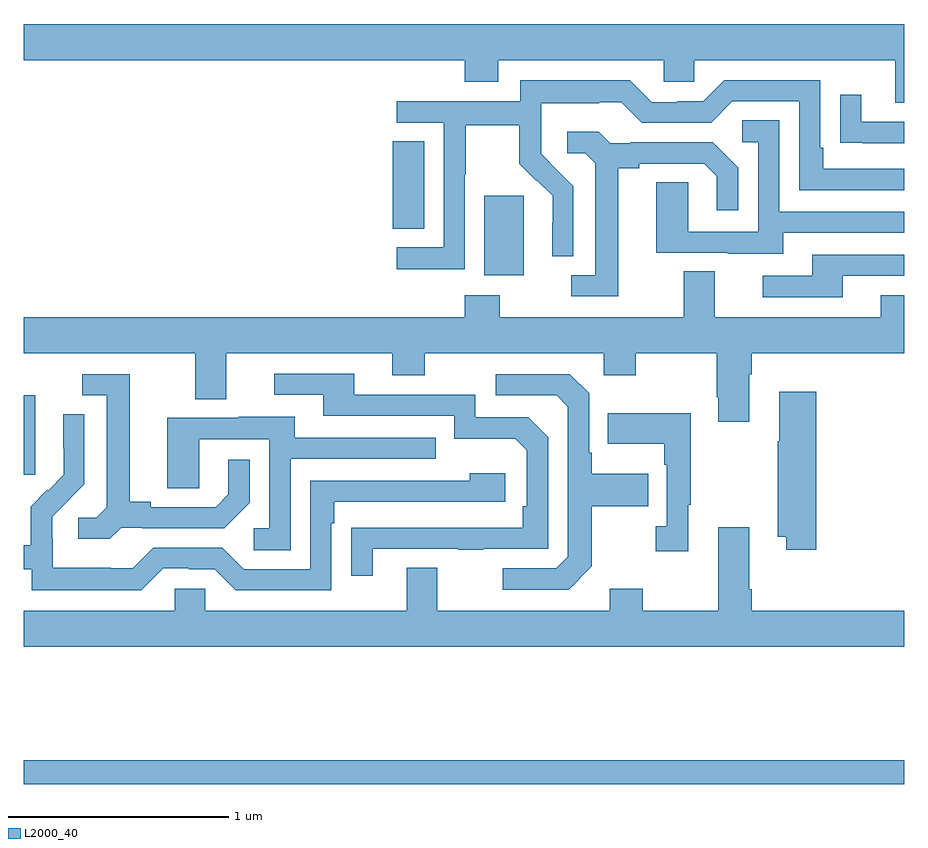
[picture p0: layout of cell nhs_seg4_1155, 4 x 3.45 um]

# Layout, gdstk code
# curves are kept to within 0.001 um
import gdstk
lib = gdstk.Library(unit=1e-6, precision=1e-09)
def R(c, l, rs):  # rectangles x0, y0, x1, y1
    for r in rs: c.add(gdstk.rectangle(r[:2], r[2:], *l))
def P(c, l, *ps):  # polygons
    for p in ps: c.add(gdstk.Polygon(p, *l))
L2000_40 = (2000, 40)

nhs_seg4_1155 = lib.new_cell('nhs_seg4_1155')
R(nhs_seg4_1155, L2000_40, [(171,758.9,175,759.008), (171,760.305,171.052,760.666), (173.093,761.21,173.272,761.571), (172.676,761.422,172.819,761.819)])
P(nhs_seg4_1155, L2000_40, [(175,762.352),(171,762.352),(171,762.188),(173.003,762.188),(173.003,762.089),(173.155,762.089),(173.155,762.188),(173.907,762.188),(173.907,762.09),(174.045,762.09),(174.045,762.188),(174.959,762.188),(174.959,761.994),(175,761.994)],
  [(173.004,761.668),(173.007,761.668),(173.007,761.892),(173.251,761.892),(173.251,761.717),(173.328,761.64),(173.331,761.643),(173.402,761.573),(173.402,761.45),(173.4,761.45),(173.4,761.296),(173.496,761.296),(173.496,761.614),(173.35,761.762),(173.35,761.859),(173.352,761.859),(173.352,761.993),(173.615,761.993),(173.615,761.997),(173.715,761.997),(173.808,761.904),(174.123,761.904),(174.219,762),(174.522,762),(174.522,761.598),(175,761.598),(175,761.694),(174.631,761.694),(174.631,761.791),(174.618,761.791),(174.618,762.096),(174.183,762.096),(174.087,762),(173.969,762),(173.969,761.997),(173.853,761.997),(173.753,762.097),(173.256,762.097),(173.256,762),(172.695,762),(172.695,761.904),(172.908,761.904),(172.908,761.337),(172.695,761.337),(172.695,761.239),(173.004,761.239)],
  [(175,761.907),(174.805,761.907),(174.805,762.031),(174.709,762.031),(174.709,761.812),(174.811,761.812),(174.811,761.811),(175,761.811)],
  [(174.451,761.403),(175,761.403),(175,761.499),(174.432,761.499),(174.432,761.915),(174.264,761.915),(174.264,761.814),(174.336,761.814),(174.336,761.409),(174.018,761.409),(174.018,761.633),(173.873,761.633),(173.873,761.313),(174.197,761.313),(174.197,761.309),(174.451,761.309)],
  [(173.701,761.696),(173.797,761.696),(173.797,761.718),(174.092,761.718),(174.149,761.661),(174.149,761.505),(174.246,761.505),(174.246,761.698),(174.13,761.814),(173.758,761.814),(173.758,761.811),(173.664,761.811),(173.612,761.863),(173.469,761.863),(173.469,761.766),(173.55,761.766),(173.597,761.719),(173.597,761.211),(173.487,761.211),(173.487,761.115),(173.701,761.115)],
  [(174.721,761.208),(175,761.208),(175,761.304),(174.581,761.304),(174.581,761.208),(174.357,761.208),(174.357,761.112),(174.721,761.112)],
  [(174.295,760.76),(174.308,760.76),(174.308,760.856),(175,760.856),(175,761.119),(174.893,761.119),(174.893,761.02),(174.139,761.02),(174.139,761.228),(173.999,761.228),(173.999,761.02),(173.163,761.02),(173.163,761.119),(173.003,761.119),(173.003,761.02),(171,761.02),(171,760.856),(171.779,760.856),(171.779,760.648),(171.919,760.648),(171.919,760.856),(172.673,760.856),(172.673,760.757),(172.821,760.757),(172.821,760.856),(173.634,760.856),(173.634,760.757),(173.781,760.757),(173.781,760.856),(174.148,760.856),(174.148,760.657),(174.155,760.657),(174.155,760.545),(174.295,760.545)],
  [(172.585,759.969),(172.975,759.969),(172.975,759.964),(173.087,759.964),(173.087,759.969),(173.382,759.969),(173.382,760.476),(173.292,760.566),(173.052,760.566),(173.052,760.668),(172.501,760.668),(172.501,760.764),(172.137,760.764),(172.137,760.668),(172.361,760.668),(172.361,760.572),(172.956,760.572),(172.956,760.469),(173.233,760.469),(173.286,760.416),(173.286,760.162),(173.266,760.162),(173.266,760.065),(172.489,760.064),(172.489,759.846),(172.585,759.846)],
  [(173.581,759.889),(173.581,760.162),(173.837,760.162),(173.837,760.309),(173.581,760.309),(173.581,760.405),(173.568,760.405),(173.568,760.674),(173.481,760.761),(173.145,760.761),(173.145,760.665),(173.421,760.665),(173.472,760.614),(173.472,759.933),(173.418,759.879),(173.175,759.879),(173.175,759.783),(173.475,759.783)],
  [(171.444,760.065),(171.538,760.065),(171.538,760.062),(171.91,760.062),(172.026,760.178),(172.026,760.372),(171.929,760.372),(171.929,760.215),(171.872,760.158),(171.577,760.158),(171.577,760.181),(171.481,760.181),(171.481,760.761),(171.267,760.761),(171.267,760.665),(171.377,760.665),(171.377,760.157),(171.33,760.11),(171.249,760.11),(171.249,760.013),(171.392,760.013)],
  [(174.599,760.681),(174.431,760.681),(174.431,760.457),(174.424,760.457),(174.424,760.022),(174.464,760.022),(174.464,759.963),(174.599,759.963)],
  [(174.019,760.169),(174.031,760.169),(174.031,760.585),(173.653,760.585),(173.653,760.445),(173.91,760.445),(173.91,760.349),(173.922,760.349),(173.922,760.07),(173.871,760.07),(173.871,759.957),(174.019,759.957)],
  [(171.633,759.879),(171.749,759.879),(171.749,759.876),(171.867,759.876),(171.963,759.78),(172.398,759.78),(172.398,760.085),(172.411,760.085),(172.411,760.182),(173.188,760.182),(173.188,760.312),(173.027,760.312),(173.027,760.278),(172.302,760.278),(172.302,759.876),(171.999,759.876),(171.903,759.972),(171.588,759.972),(171.495,759.879),(171.395,759.879),(171.395,759.883),(171.132,759.883),(171.132,760.017),(171.13,760.017),(171.13,760.114),(171.276,760.262),(171.276,760.58),(171.18,760.58),(171.18,760.426),(171.182,760.426),(171.182,760.304),(171.111,760.233),(171.108,760.236),(171.031,760.159),(171.031,759.985),(171,759.985),(171,759.876),(171.036,759.876),(171.036,759.779),(171.533,759.779)],
  [(172.212,760.377),(172.871,760.377),(172.871,760.473),(172.231,760.473),(172.231,760.567),(171.977,760.567),(171.977,760.563),(171.653,760.563),(171.653,760.243),(171.798,760.243),(171.798,760.467),(172.116,760.467),(172.116,760.062),(172.044,760.062),(172.044,759.961),(172.212,759.961)],
  [(175,759.688),(174.308,759.688),(174.308,759.784),(174.295,759.784),(174.295,760.066),(174.155,760.066),(174.155,759.688),(173.811,759.688),(173.811,759.787),(173.663,759.787),(173.663,759.688),(172.879,759.688),(172.879,759.883),(172.739,759.883),(172.739,759.688),(171.825,759.688),(171.825,759.786),(171.687,759.786),(171.687,759.688),(171,759.688),(171,759.524),(175,759.524)])

lib.write_gds('nhs_seg4_1155.gds')
